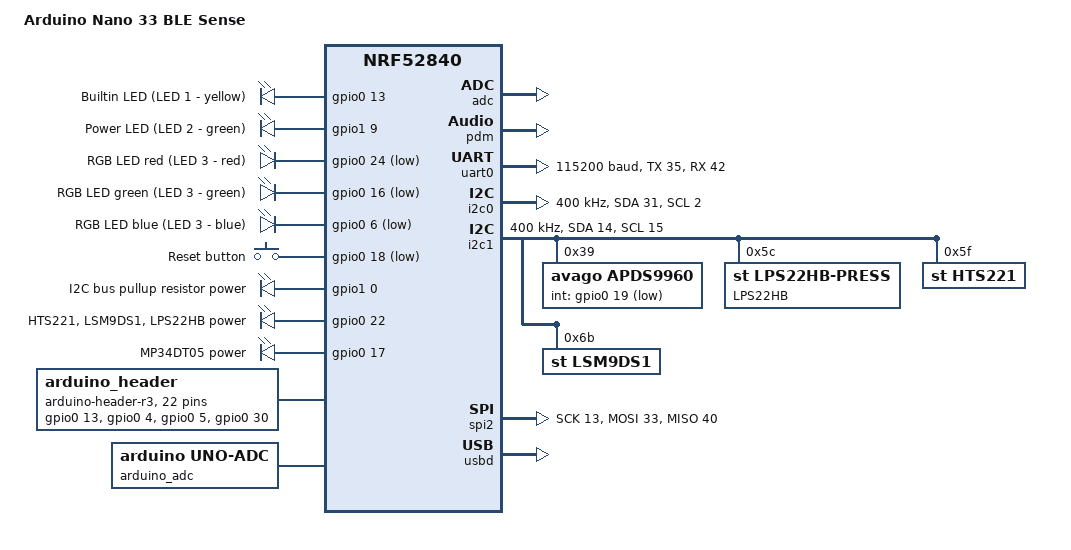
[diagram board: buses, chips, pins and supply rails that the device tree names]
/*
* Copyright (c) 2020 Tobias Svehagen
* Copyright (c) 2020 Christopher Funk
* Copyright (c) 2020 Luca Quaer
*
* SPDX-License-Identifier: Apache-2.0
*/

/dts-v1/;
#include <nordic/nrf52840_qiaa.dtsi>

/ {
    model       = "Arduino Nano 33 BLE Sense";
    compatible  = "arduino,nano-33-ble-sense";

    chosen {
        zephyr,console          = &uart0;
        zephyr,shell-uart       = &uart0;
        zephyr,uart-mcumgr      = &uart0;
        zephyr,bt-mon-uart      = &uart0;
        zephyr,bt-c2h-uart      = &uart0;
        zephyr,sram             = &sram0;
        zephyr,flash            = &flash0;
        zephyr,code-partition   = &slot0_partition;
    };

    leds {
        compatible = "gpio-leds";
        led_builtin: led_builtin {
            gpios = <&gpio0 13 GPIO_ACTIVE_HIGH>;
            label = "Builtin LED (LED 1 - yellow)";
        };
        led_pwr: led_pwr {
            gpios = <&gpio1 9 GPIO_ACTIVE_HIGH>;
            label = "Power LED (LED 2 - green)";
        };
        ledr: ledr {
            gpios = <&gpio0 24 GPIO_ACTIVE_LOW>;
            label = "RGB LED red (LED 3 - red)";
        };
        ledg: ledg {
            gpios = <&gpio0 16 GPIO_ACTIVE_LOW>;
            label = "RGB LED green (LED 3 - green)";
        };
        ledb: ledb {
            gpios = <&gpio0 6 GPIO_ACTIVE_LOW>;
            label = "RGB LED blue (LED 3 - blue)";
        };
    };

    buttons {
        compatible = "gpio-keys";
        button0: button_0 {
            gpios = <&gpio0 18 (GPIO_PULL_UP | GPIO_ACTIVE_LOW)>;
            label = "Reset button";
        };
    };

    /* Necessary because the Arduino powers sensors via pins! */
    power {
        compatible = "gpio-leds";
        pullup_pwr: pullup_pwr {
            gpios = <&gpio1 0 GPIO_ACTIVE_HIGH>;
            label = "I2C bus pullup resistor power";
        };
        vdd_env: vdd_env {
            gpios = <&gpio0 22 GPIO_ACTIVE_HIGH>;
            label = "HTS221, LSM9DS1, LPS22HB power";
        };
        mic_pwr: mic_pwr {
            gpios = <&gpio0 17 GPIO_ACTIVE_HIGH>;
            label = "MP34DT05 power";
        };
    };

    arduino_header: connector {
        compatible = "arduino-header-r3";/* If you want to modify zephyr/dts/bindings copy "arduino,nano-33-header.yml" there */
        #gpio-cells = <2>;
        gpio-map-mask = <0xffffffff 0xffffffc0>;
        gpio-map-pass-thru = <0 0x3f>;
        gpio-map =  < 0 0 &gpio0 13 0>, /*  0 - D13/SCK */
                    < 1 0 &gpio0  4 0>, /*  1 - A0      */
                    < 2 0 &gpio0  5 0>, /*  2 - A1      */
                    < 3 0 &gpio0 30 0>, /*  3 - A2      */
                    < 4 0 &gpio0 29 0>, /*  4 - A3      */
                    < 5 0 &gpio0 31 0>, /*  5 - A4/SDA  */
                    < 6 0 &gpio0  2 0>, /*  6 - A5/SCL  */
                    < 7 0 &gpio0 28 0>, /*  7 - A6      */
                    < 8 0 &gpio0  3 0>, /*  8 - A7      */
                    < 9 0 &gpio1  3 0>, /*  9 - D0/RX   */
                    <10 0 &gpio1 10 0>, /* 10 - D1/TX   */
                    <11 0 &gpio1 11 0>, /* 11 - D2      */
                    <12 0 &gpio1 12 0>, /* 12 - D3      */
                    <13 0 &gpio1 15 0>, /* 13 - D4      */
                    <14 0 &gpio1 13 0>, /* 14 - D5      */
                    <15 0 &gpio1 14 0>, /* 15 - D6      */
                    <16 0 &gpio0 23 0>, /* 16 - D7      */
                    <17 0 &gpio0 21 0>, /* 17 - D8      */
                    <18 0 &gpio0 27 0>, /* 18 - D9      */
                    <19 0 &gpio1  2 0>, /* 19 - D10     */
                    <20 0 &gpio1  1 0>, /* 20 - D11/MOSI*/
                    <21 0 &gpio1  8 0>; /* 21 - D12/MISO*/
    };

    arduino_adc: analog-connector {
        /*  If you want to modify zephyr/dts/bindings
            copy "arduino,nano-33-adc.yml" there.
        */
        compatible = "arduino,uno-adc";
        #io-channel-cells = <1>;
        io-channel-map =    <0 &adc 2>,	/* 0 - A0 = P0.04 = AIN2 */
                            <1 &adc 3>,	/* 1 - A1 = P0.05 = AIN3 */
                            <2 &adc 6>,	/* 2 - A2 = P0.30 = AIN6 */
                            <3 &adc 5>,	/* 3 - A3 = P0.29 = AIN5 */
                            <4 &adc 7>,	/* 4 - A4 = P0.31 = AIN7 */
                            <5 &adc 0>,	/* 5 - A5 = P0.02 = AIN0 */
                            <6 &adc 4>,	/* 6 - A6 = P0.28 = AIN4 */
                            <7 &adc 1>;	/* 7 - A7 = P0.03 = AIN1 */
    };

    /* These aliases are provided for compatibility with samples */
    aliases {
        led0    = &led_builtin;
        led1    = &led_pwr;
        led2    = &ledr;
        led3    = &ledg;
        led4    = &ledb;
        sw0     = &button0;
    };
};

&adc {
    status = "okay";
};

&gpiote {
    status = "okay";
};

&gpio0 {
    status = "okay";
};

&gpio1 {
    status = "okay";
};

&pdm {
    status = "okay";
    clk-pin = <26>;
    din-pin = <25>;
};

arduino_serial: &uart0 {
    compatible = "nordic,nrf-uart";
    status = "okay";
    current-speed = <115200>;
    tx-pin = <35>;
    rx-pin = <42>;
};

arduino_i2c: &i2c0 {
    compatible = "nordic,nrf-twi";
    status = "okay";
    clock-frequency = <I2C_BITRATE_FAST>;
    sda-pin = <31>;
    scl-pin = <2>;
};

&i2c1 {
    compatible = "nordic,nrf-twi";
    status = "okay";
    clock-frequency = <I2C_BITRATE_FAST>;
    sda-pin = <14>;
    scl-pin = <15>;

    apds9960: apds9960@39 {
        compatible = "avago,apds9960";
        label = "APDS9960";
        reg = <0x39>;
        int-gpios = <&gpio0 19 (GPIO_PULL_UP | GPIO_ACTIVE_LOW)>;
    };

    lps22hb_press: lps22hb_press@5c {
        compatible = "st,lps22hb-press";
        label = "LPS22HB";
        reg = <0x5c>;
    };

    hts221: hts221@5f {
        compatible = "st,hts221";
        label = "HTS221";
        reg = <0x5f>;
    };

    lsm9ds1: lsm9ds1@6B {
        compatible = "st,lsm9ds1";
        label = "LSM9DS1";
        // Set subaddr. for accl/gyro and magn sensor.
        reg = <0x6B 0x1E>;
    };
};

arduino_spi: &spi2 {
    compatible = "nordic,nrf-spi";
    status = "okay";
    sck-pin = <13>;
    mosi-pin = <33>;
    miso-pin = <40>;
};

&usbd {
    compatible = "nordic,nrf-usbd";
    status = "okay";
};

&flash0 {
    /*
    * For more information, see:
    * http://docs.zephyrproject.org/latest/guides/dts/index.html#flash-partitions
    */
    partitions {
        compatible = "fixed-partitions";
        #address-cells = <1>;
        #size-cells = <1>;
        /* MCUBOOT bootloader goes into this partition */
        boot_partition: partition@0 {
            label = "mcuboot";
            reg = <0x000000000 0x0000C000>;
        };
        /* Zephyr image goes into this partition */
        slot0_partition: partition@c000 {
            label = "image-0";
            reg = <0x0000C000 0x00067000>;
        };
        /* Stores firmware upgrade images for use with MCUBOOT. Must be same size as slot0. */
        slot1_partition: partition@73000 {
            label = "image-1";
            reg = <0x00073000 0x00067000>;
        };
        /* Temporary storage while swapping slot0 and slot1. */
        scratch_partition: partition@da000 {
            label = "image-scratch";
            reg = <0x000da000 0x0001e000>;
        };

        /*
        * The flash starting at 0x000f8000 and ending at
        * 0x000fffff is reserved for use by the application.
        */

        /* Storage partition will be used by FCB/NFFS/NVS if enabled. */
        storage_partition: partition@f8000 {
            label = "storage";
            reg = <0x000f8000 0x00008000>;
        };
    };
};

/**
 * Partition layout with "big" boot partition.
 * This is necessary if changes to MCUboot's configuration
 * made the bootloader bigger.
 */
/*
&flash0 {
	partitions {
			compatible = "fixed-partitions";
			#address-cells = <1>;
			#size-cells = <1>;

			boot_partition: partition@0 {
				label = "mcuboot";
				reg = <0x000000000 0x000010000>;
			};
			slot0_partition: partition@10000 {
				label = "image-0";
				reg = <0x000010000 0x000067000>;
			};
			slot1_partition: partition@77000 {
				label = "image-1";
				reg = <0x000077000 0x000067000>;
			};
			scratch_partition: partition@de000 {
				label = "image-scratch";
				reg = <0x0000de000 0x00001e000>;
			};
			storage_partition: partition@fc000 {
				label = "storage";
				reg = <0x000fc000 0x00008000>;
			};
	};
};
*/

/**
 * Partition layout with "large" boot partition
 * (twice the size of the "big" partition laout).
 * This is necessary if changes to MCUboot's configuration
 * made the bootloader even bigger.
 */
/*
&flash0 {
	partitions {
			compatible = "fixed-partitions";
			#address-cells = <1>;
			#size-cells = <1>;

			boot_partition: partition@0 {
				label = "mcuboot";
				reg = <0x000000000 0x000020000>;
			};
			slot0_partition: partition@20000 {
				label = "image-0";
				reg = <0x000020000 0x000067000>;
			};
			slot1_partition: partition@87000 {
				label = "image-1";
				reg = <0x000087000 0x000067000>;
			};
			scratch_partition: partition@EE000 {
				label = "image-scratch";
				reg = <0x0000EE000 0x00001e000>;
			};
			storage_partition: partition@10C000 {
				label = "storage";
				reg = <0x00010C000 0x000008000>;
			};
	};
};
*/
